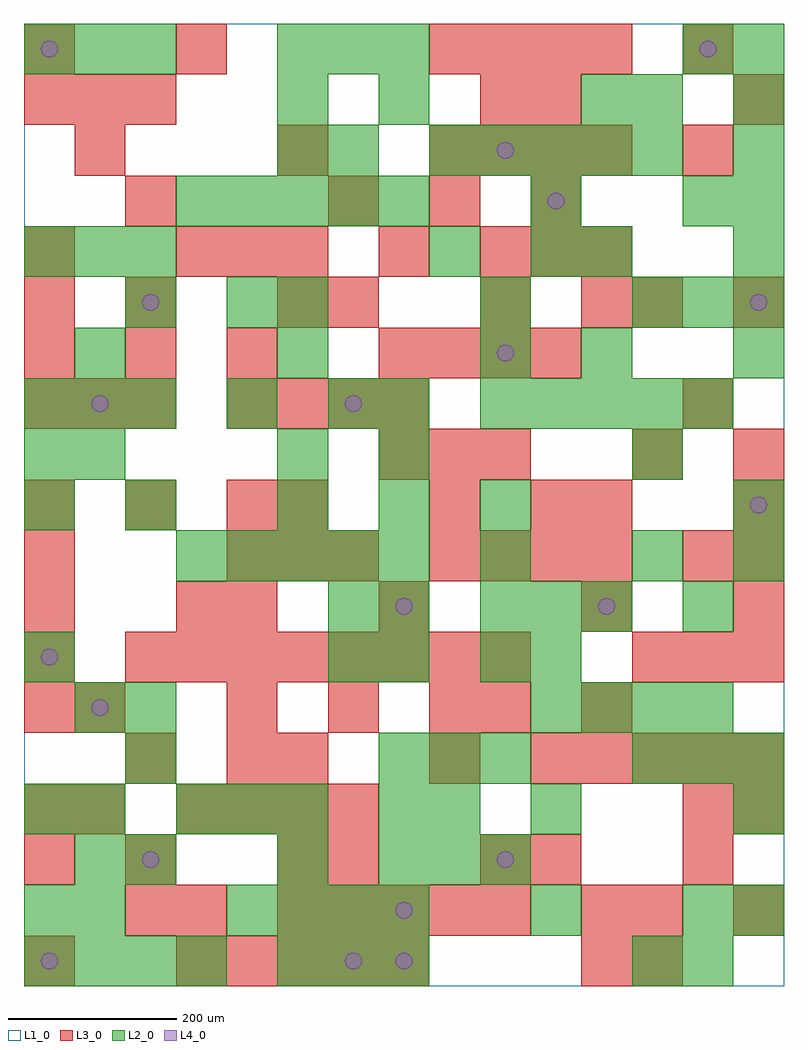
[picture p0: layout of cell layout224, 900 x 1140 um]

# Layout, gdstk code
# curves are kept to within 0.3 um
import gdstk
lib = gdstk.Library(unit=1e-6, precision=1e-09)
def R(c, l, rs):  # rectangles x0, y0, x1, y1
    for r in rs: c.add(gdstk.rectangle(r[:2], r[2:], *l))
def A(c, l, x, y, w, h, nx, ny, dx, dy):  # array of equal rectangles
    R(c, l, [(x+i*dx, y+j*dy, x+i*dx+w, y+j*dy+h) for i in range(nx) for j in range(ny)])
def P(c, l, *ps):  # polygons
    for p in ps: c.add(gdstk.Polygon(p, *l))
L1_0 = (1, 0)
L2_0 = (2, 0)
L3_0 = (3, 0)
L4_0 = (4, 0)

layout224 = lib.new_cell('layout224')
R(layout224, L1_0, [(0,0,900,1140)])
A(layout224, L2_0, 0, 0, 60, 60, 4, 1, 60, 0)
A(layout224, L2_0, 300, 0, 60, 60, 3, 2, 60, 1080)
A(layout224, L2_0, 60, 60, 60, 60, 1, 3, 0, 60)
A(layout224, L2_0, 240, 60, 60, 60, 4, 1, 60, 0)
A(layout224, L2_0, 420, 120, 60, 60, 3, 2, 60, 120)
A(layout224, L2_0, 0, 180, 60, 60, 1, 3, 0, 180)
A(layout224, L2_0, 180, 180, 60, 60, 3, 1, 60, 0)
A(layout224, L2_0, 720, 240, 60, 60, 3, 2, 60, 540)
A(layout224, L2_0, 120, 300, 60, 60, 1, 3, 0, 240)
A(layout224, L2_0, 600, 300, 60, 60, 4, 1, 60, 0)
A(layout224, L2_0, 540, 420, 60, 60, 3, 1, 60, 0)
A(layout224, L2_0, 180, 480, 60, 60, 5, 2, 60, 420)
A(layout224, L2_0, 300, 540, 60, 60, 3, 1, 120, 0)
A(layout224, L2_0, 300, 600, 60, 60, 1, 3, 0, 180)
A(layout224, L2_0, 0, 660, 60, 60, 3, 2, 60, 180)
A(layout224, L2_0, 540, 660, 60, 60, 5, 1, 60, 0)
A(layout224, L2_0, 60, 720, 60, 60, 3, 1, 240, 0)
A(layout224, L2_0, 840, 840, 60, 60, 1, 5, 0, 60)
A(layout224, L2_0, 480, 960, 60, 60, 5, 1, 60, 0)
A(layout224, L2_0, 0, 1080, 60, 60, 3, 1, 60, 0)
R(layout224, L2_0, [(720,0,780,60), (780,0,840,60), (0,60,60,120), (600,60,660,120), (780,60,840,120), (840,60,900,120), (120,120,180,180), (300,120,360,180), (420,180,480,240), (480,180,540,240), (600,180,660,240), (840,180,900,240), (120,240,180,300), (60,300,120,360), (360,360,420,420), (420,360,480,420), (540,360,600,420), (600,360,660,420), (360,420,420,480), (420,420,480,480), (780,420,840,480), (540,480,600,540), (720,480,780,540), (840,480,900,540), (840,540,900,600), (0,600,60,660), (60,600,120,660), (420,600,480,660), (720,600,780,660), (240,660,300,720), (360,660,420,720), (420,660,480,720), (660,720,720,780), (840,720,900,780), (240,780,300,840), (540,780,600,840), (480,840,540,900), (600,840,660,900), (660,840,720,900), (600,900,660,960), (780,900,840,960), (360,960,420,1020), (300,1020,360,1080), (420,1020,480,1080), (660,1020,720,1080), (720,1020,780,1080), (780,1080,840,1140)])
A(layout224, L3_0, 180, 0, 60, 60, 5, 1, 60, 0)
A(layout224, L3_0, 300, 60, 60, 60, 5, 1, 60, 0)
A(layout224, L3_0, 180, 180, 60, 60, 4, 1, 60, 0)
A(layout224, L3_0, 600, 240, 60, 60, 5, 1, 60, 0)
A(layout224, L3_0, 0, 300, 60, 60, 1, 4, 0, 60)
A(layout224, L3_0, 240, 300, 60, 60, 3, 1, 120, 0)
A(layout224, L3_0, 660, 300, 60, 60, 1, 3, 0, 120)
A(layout224, L3_0, 120, 360, 60, 60, 8, 1, 60, 0)
A(layout224, L3_0, 720, 360, 60, 60, 3, 1, 60, 0)
A(layout224, L3_0, 840, 420, 60, 60, 1, 4, 0, 60)
A(layout224, L3_0, 240, 480, 60, 60, 3, 1, 60, 0)
A(layout224, L3_0, 480, 480, 60, 60, 4, 2, 60, 480)
A(layout224, L3_0, 0, 540, 60, 60, 3, 2, 120, 180)
A(layout224, L3_0, 420, 600, 60, 60, 3, 1, 60, 0)
A(layout224, L3_0, 0, 660, 60, 60, 3, 2, 60, 360)
A(layout224, L3_0, 240, 660, 60, 60, 4, 1, 60, 0)
A(layout224, L3_0, 420, 720, 60, 60, 4, 1, 60, 0)
A(layout224, L3_0, 180, 840, 60, 60, 3, 1, 60, 0)
A(layout224, L3_0, 540, 840, 60, 60, 3, 1, 60, 0)
A(layout224, L3_0, 360, 900, 60, 60, 3, 1, 120, 0)
A(layout224, L3_0, 480, 1080, 60, 60, 4, 1, 60, 0)
R(layout224, L3_0, [(0,0,60,60), (660,0,720,60), (720,0,780,60), (120,60,180,120), (180,60,240,120), (660,60,720,120), (720,60,780,120), (840,60,900,120), (0,120,60,180), (120,120,180,180), (300,120,360,180), (360,120,420,180), (540,120,600,180), (600,120,660,180), (780,120,840,180), (0,180,60,240), (60,180,120,240), (780,180,840,240), (840,180,900,240), (120,240,180,300), (240,240,300,300), (300,240,360,300), (480,240,540,300), (60,300,120,360), (540,300,600,360), (180,420,240,480), (240,420,300,480), (420,420,480,480), (780,480,840,540), (300,540,360,600), (480,540,540,600), (600,540,660,600), (720,600,780,660), (780,660,840,720), (0,780,60,840), (120,780,180,840), (300,780,360,840), (360,780,420,840), (540,780,600,840), (660,780,720,840), (720,780,780,840), (840,780,900,840), (0,840,60,900), (420,840,480,900), (120,900,180,960), (60,960,120,1020), (300,960,360,1020), (780,960,840,1020), (540,1020,600,1080), (600,1020,660,1080), (840,1020,900,1080), (0,1080,60,1140), (180,1080,240,1140), (780,1080,840,1140)])
P(layout224, L4_0, [(40,30),(39.239,33.827),(37.071,37.071),(33.827,39.239),(30,40),(26.173,39.239),(22.929,37.071),(20.761,33.827),(20,30),(20.761,26.173),(22.929,22.929),(26.173,20.761),(30,20),(33.827,20.761),(37.071,22.929),(39.239,26.173)],
  [(40,390),(39.239,393.827),(37.071,397.071),(33.827,399.239),(30,400),(26.173,399.239),(22.929,397.071),(20.761,393.827),(20,390),(20.761,386.173),(22.929,382.929),(26.173,380.761),(30,380),(33.827,380.761),(37.071,382.929),(39.239,386.173)],
  [(40,1110),(39.239,1113.827),(37.071,1117.071),(33.827,1119.239),(30,1120),(26.173,1119.239),(22.929,1117.071),(20.761,1113.827),(20,1110),(20.761,1106.173),(22.929,1102.929),(26.173,1100.761),(30,1100),(33.827,1100.761),(37.071,1102.929),(39.239,1106.173)],
  [(100,330),(99.239,333.827),(97.071,337.071),(93.827,339.239),(90,340),(86.173,339.239),(82.929,337.071),(80.761,333.827),(80,330),(80.761,326.173),(82.929,322.929),(86.173,320.761),(90,320),(93.827,320.761),(97.071,322.929),(99.239,326.173)],
  [(100,690),(99.239,693.827),(97.071,697.071),(93.827,699.239),(90,700),(86.173,699.239),(82.929,697.071),(80.761,693.827),(80,690),(80.761,686.173),(82.929,682.929),(86.173,680.761),(90,680),(93.827,680.761),(97.071,682.929),(99.239,686.173)],
  [(160,150),(159.239,153.827),(157.071,157.071),(153.827,159.239),(150,160),(146.173,159.239),(142.929,157.071),(140.761,153.827),(140,150),(140.761,146.173),(142.929,142.929),(146.173,140.761),(150,140),(153.827,140.761),(157.071,142.929),(159.239,146.173)],
  [(160,810),(159.239,813.827),(157.071,817.071),(153.827,819.239),(150,820),(146.173,819.239),(142.929,817.071),(140.761,813.827),(140,810),(140.761,806.173),(142.929,802.929),(146.173,800.761),(150,800),(153.827,800.761),(157.071,802.929),(159.239,806.173)],
  [(400,30),(399.239,33.827),(397.071,37.071),(393.827,39.239),(390,40),(386.173,39.239),(382.929,37.071),(380.761,33.827),(380,30),(380.761,26.173),(382.929,22.929),(386.173,20.761),(390,20),(393.827,20.761),(397.071,22.929),(399.239,26.173)],
  [(400,690),(399.239,693.827),(397.071,697.071),(393.827,699.239),(390,700),(386.173,699.239),(382.929,697.071),(380.761,693.827),(380,690),(380.761,686.173),(382.929,682.929),(386.173,680.761),(390,680),(393.827,680.761),(397.071,682.929),(399.239,686.173)],
  [(460,30),(459.239,33.827),(457.071,37.071),(453.827,39.239),(450,40),(446.173,39.239),(442.929,37.071),(440.761,33.827),(440,30),(440.761,26.173),(442.929,22.929),(446.173,20.761),(450,20),(453.827,20.761),(457.071,22.929),(459.239,26.173)],
  [(460,90),(459.239,93.827),(457.071,97.071),(453.827,99.239),(450,100),(446.173,99.239),(442.929,97.071),(440.761,93.827),(440,90),(440.761,86.173),(442.929,82.929),(446.173,80.761),(450,80),(453.827,80.761),(457.071,82.929),(459.239,86.173)],
  [(460,450),(459.239,453.827),(457.071,457.071),(453.827,459.239),(450,460),(446.173,459.239),(442.929,457.071),(440.761,453.827),(440,450),(440.761,446.173),(442.929,442.929),(446.173,440.761),(450,440),(453.827,440.761),(457.071,442.929),(459.239,446.173)],
  [(580,150),(579.239,153.827),(577.071,157.071),(573.827,159.239),(570,160),(566.173,159.239),(562.929,157.071),(560.761,153.827),(560,150),(560.761,146.173),(562.929,142.929),(566.173,140.761),(570,140),(573.827,140.761),(577.071,142.929),(579.239,146.173)],
  [(580,750),(579.239,753.827),(577.071,757.071),(573.827,759.239),(570,760),(566.173,759.239),(562.929,757.071),(560.761,753.827),(560,750),(560.761,746.173),(562.929,742.929),(566.173,740.761),(570,740),(573.827,740.761),(577.071,742.929),(579.239,746.173)],
  [(580,990),(579.239,993.827),(577.071,997.071),(573.827,999.239),(570,1000),(566.173,999.239),(562.929,997.071),(560.761,993.827),(560,990),(560.761,986.173),(562.929,982.929),(566.173,980.761),(570,980),(573.827,980.761),(577.071,982.929),(579.239,986.173)],
  [(640,930),(639.239,933.827),(637.071,937.071),(633.827,939.239),(630,940),(626.173,939.239),(622.929,937.071),(620.761,933.827),(620,930),(620.761,926.173),(622.929,922.929),(626.173,920.761),(630,920),(633.827,920.761),(637.071,922.929),(639.239,926.173)],
  [(700,450),(699.239,453.827),(697.071,457.071),(693.827,459.239),(690,460),(686.173,459.239),(682.929,457.071),(680.761,453.827),(680,450),(680.761,446.173),(682.929,442.929),(686.173,440.761),(690,440),(693.827,440.761),(697.071,442.929),(699.239,446.173)],
  [(820,1110),(819.239,1113.827),(817.071,1117.071),(813.827,1119.239),(810,1120),(806.173,1119.239),(802.929,1117.071),(800.761,1113.827),(800,1110),(800.761,1106.173),(802.929,1102.929),(806.173,1100.761),(810,1100),(813.827,1100.761),(817.071,1102.929),(819.239,1106.173)],
  [(880,570),(879.239,573.827),(877.071,577.071),(873.827,579.239),(870,580),(866.173,579.239),(862.929,577.071),(860.761,573.827),(860,570),(860.761,566.173),(862.929,562.929),(866.173,560.761),(870,560),(873.827,560.761),(877.071,562.929),(879.239,566.173)],
  [(880,810),(879.239,813.827),(877.071,817.071),(873.827,819.239),(870,820),(866.173,819.239),(862.929,817.071),(860.761,813.827),(860,810),(860.761,806.173),(862.929,802.929),(866.173,800.761),(870,800),(873.827,800.761),(877.071,802.929),(879.239,806.173)])

lib.write_gds('layout224.gds')
